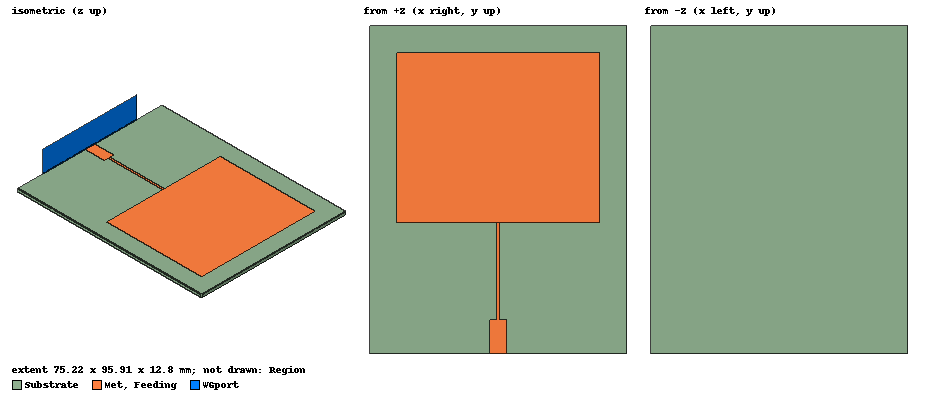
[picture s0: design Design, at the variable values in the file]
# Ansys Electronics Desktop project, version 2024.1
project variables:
  $epsR = 2.2
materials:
  Substrate: permittivity=$epsR
  pec: conductivity=1e+30
  vacuum: permittivity=1

design Design (HFSS, HFSS Modal Network, model units mm)
options: Allow_Material_Override
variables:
  B = 59.225mm
  A = 49.472mm
  ts = 1.6mm
  tc = 0.035mm
  Le = 8mm
  Lm = 10mm
  minorA = 28.44mm
  W = 4.943mm
  minorB = 2.014mm
  minorC = 1.999mm
  minorD = W/2-minorB-minorC
  L = 150mm
  P1_power_mag = 8W
  P1_power_pha = 0deg
  lambda = 150mm
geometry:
  Substrate [Substrate] = box(corner=(-B/2-Le, -A/2-Lm-minorA, 0mm), size=(B+2*Le, A+Le+Lm+minorA, ts))
  Met [pec] = box(corner=(-B/2, -A/2, ts), size=(B, A, tc))
  Feeding [pec] = box(corner=(-W/2, -A/2-minorA-Lm, ts), size=(W, minorA+Lm, tc))
  WGport = rectangle(corner=(-5*W, -A/2-minorA-Lm, 0mm), x_size=10*W, y_size=8*ts)
  coordinate_system RelativeCS1 = origin=(0mm, -A/2-Lm-minorA, 0mm) x=(1mm, 0mm, 0mm) y=(0mm, 1mm, 0mm)
  WGport.rotate(axis=X, angle=90deg) in RelativeCS1
  Region [vacuum] = region(absolute_offset: +X=L/4, -X=L/4, +Y=L/4, -Y=0mm, +Z=L/4, -Z=L/8) in RelativeCS1
  Polyline1 = polyline(z=ts, xy: (W/2-minorB, Lm+minorA) (W/2-minorC, Lm) (W/2, Lm) (W/2, Lm +minorA) (W/2-minorB, Lm+minorA), closed, covered) in RelativeCS1
  Polyline1.thicken(tc)
  Polyline1_1 = Polyline1.duplicate_mirror(point=(0mm, 0mm, 0mm), normal=(1mm, 0mm, 0mm)) in RelativeCS1
  Polyline1_1.unite(Polyline1)
  Feeding.subtract(Polyline1_1)
  Polyline2 [non-model] = polyline((0mm, 0, lambda/10) (0mm, Lm+minorA+A+Le, lambda/10)) in RelativeCS1
  Polyline3 [non-model] = polyline((-B/2-Le, Lm+minorA+A/2, lambda/10) (B/2 +Le, Lm+minorA+A/2, lambda/10)) in RelativeCS1
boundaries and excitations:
  Ground: Perfect E Faces=Substrate.face(-z)
  Rad1: Radiation Objects=Region
  Port: Wave Port Objects=WGport WavePortType=Modal NumModes=1 DeembedDist=-10mm Modes{Mode1{CharImp=Zpi RenormImp=50ohm}}
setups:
  Sweep: HfssDriven MultipleAdaptiveFreqsSetup{AdaptAt{Frequency=2GHz Delta=0.02} AdaptAt{Frequency=2.25GHz Delta=0.05}} MaximumPasses=20 MinimumPasses=1 MinimumConvergedPasses=1 PercentRefinement=30 BasisOrder=1 PortAccuracy=2 DrivenSolverType="Direct Solver"
    sweep Discrete: 2GHz to 2GHz, 1 points; Type=Discrete
    sweep Interpolating: 1.75GHz to 2.25GHz, 401 points; Type=Interpolating InterpTolerance=0.5 InterpMaxSolns=250 InterpUsePortImped=false PassivityErrorTolerance=0.0001
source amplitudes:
  Port:1: P1_power_mag P1_power_pha
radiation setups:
  InfiniteSphere: Infinite Sphere Theta=0deg..180deg step 1deg Phi=-180deg..180deg step 1deg
  Line1: Near Line  Line=Polyline2 NumPts=101
  Line2: Near Line  Line=Polyline3 NumPts=101
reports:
  S11mag: dB(S(Port,Port)) vs Freq on Sweep : Interpolating
  S11pha: cang_rad(S(Port,Port)) vs Freq on Sweep : Interpolating
  NearE: NearETotal vs NormalizedDistance on Sweep : LastAdaptive [Freq=2GHz]
